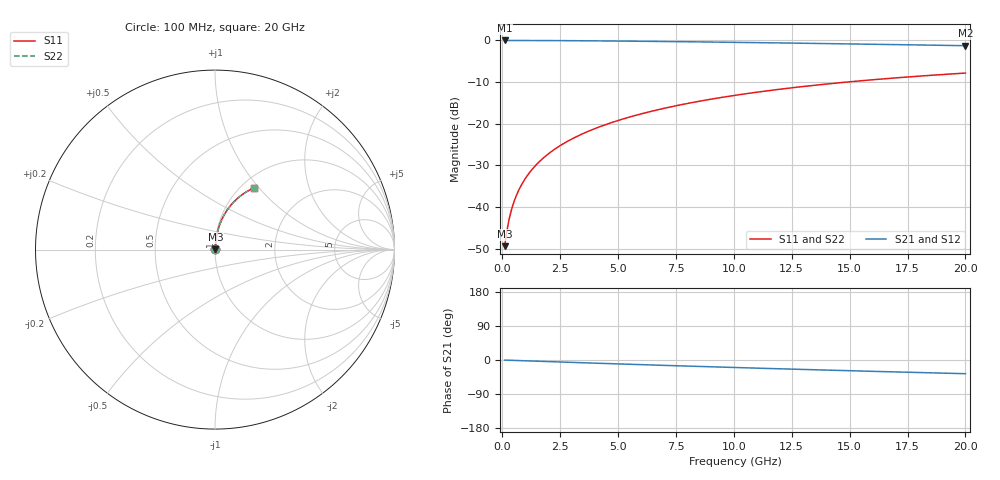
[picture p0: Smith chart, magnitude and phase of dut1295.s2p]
! Touchstone file exported from HFSS 2024.1.0
!  File:  C:/UserFiles/LocalFiles/RDL_TSV_Batchsim/temp_RDL_bottom_1295_1780247215.aedt
!  Generated:  01:09:47 AM Jun  1, 2026
!  Design:  RDL_bottom
!  Project:  temp_RDL_bottom_1295_1780247215
!  Setup:  Setup1
!  Solution:  Sweep
! Variables:
!  dtsv = 10.80580581um
!  hbump = 3um
!  htsv = 84.29um
!  ldown = 441.69um
!  lrdl = 100um
!  p = 40
!  p1 = 57.93um
!  rhole = 1um
!  t = 450um
!  tdown = 4.01um
!  trdl = 3.915915916um
!  wdown = 16.38um
!  wrdl = 20um
# GHz S MA R 50.000000
! Terminal data exported
! Port[1] = RDL1_T1
! Port[2] = RDL1_T2
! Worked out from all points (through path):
!   200 points, 100 MHz to 20 GHz, reference 50 ohm
!   highest |S21| = -0.02 dB at 100 MHz (marker M1); lowest = -1.3 dB at 20 GHz (marker M2)
!   group delay of S21, straight-line fit = 5 ps
!   lowest |S11| = -49.4 dB at 100 MHz (marker M3), VSWR 1.01, Z = 50.3 + j0.229 ohm
!   |S11| at or under -10 dB: start of sweep to 14.89 GHz
!   |S22| runs from -49.4 to -7.8 dB; largest |S21 - S12| = 3.1e-15
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0.1  0.003391 42.1  0.9975 -0.2  0.9975 -0.2  0.003391 42.1
! Gamma 0 0 0 0
! Port Impedance 50 0 50 0
0.2  0.005213 60.2  0.9974 -0.4  0.9974 -0.4  0.005213 60.2
0.3  0.007252 68.2  0.9973 -0.6  0.9973 -0.6  0.007252 68.2
0.4  0.009344 72.6  0.9972 -0.9  0.9972 -0.9  0.009344 72.6
0.5  0.01145 75.3  0.997 -1.1  0.997 -1.1  0.01145 75.3
0.6  0.01357 77.2  0.9969 -1.3  0.9969 -1.3  0.01357 77.2
0.8  0.01783 79.6  0.9967 -1.7  0.9967 -1.7  0.01783 79.6
1.1  0.02425 81.6  0.9962 -2.3  0.9962 -2.3  0.02425 81.6
1.5  0.03288 82.8  0.9955 -3.2  0.9955 -3.2  0.03288 82.8
1.8  0.03937 83.2  0.9948 -3.8  0.9948 -3.8  0.03937 83.2
2.1  0.04588 83.4  0.994 -4.4  0.994 -4.4  0.04588 83.4
2.7  0.05893 83.4  0.9921 -5.7  0.9921 -5.7  0.05893 83.4
3.5  0.07641 82.9  0.989 -7.3  0.989 -7.3  0.07641 82.9
4.2  0.09174 82.2  0.9857 -8.7  0.9857 -8.7  0.09174 82.2
5  0.1093 81.3  0.9815 -10.3  0.9815 -10.3  0.1093 81.3
5.9  0.1291 80.1  0.9762 -12.1  0.9762 -12.1  0.1291 80.1
6.8  0.1488 78.9  0.9705 -13.8  0.9705 -13.8  0.1488 78.9
8.4  0.1837 76.4  0.9594 -16.8  0.9594 -16.8  0.1837 76.4
10.1  0.22 73.7  0.9467 -19.9  0.9467 -19.9  0.22 73.7
13.4  0.2875 68.3  0.9202 -25.7  0.9202 -25.7  0.2875 68.3
16.7  0.3495 63.0  0.8921 -31.1  0.8921 -31.1  0.3495 63.0
20  0.4051 57.9  0.8631 -36.1  0.8631 -36.1  0.4051 57.9
